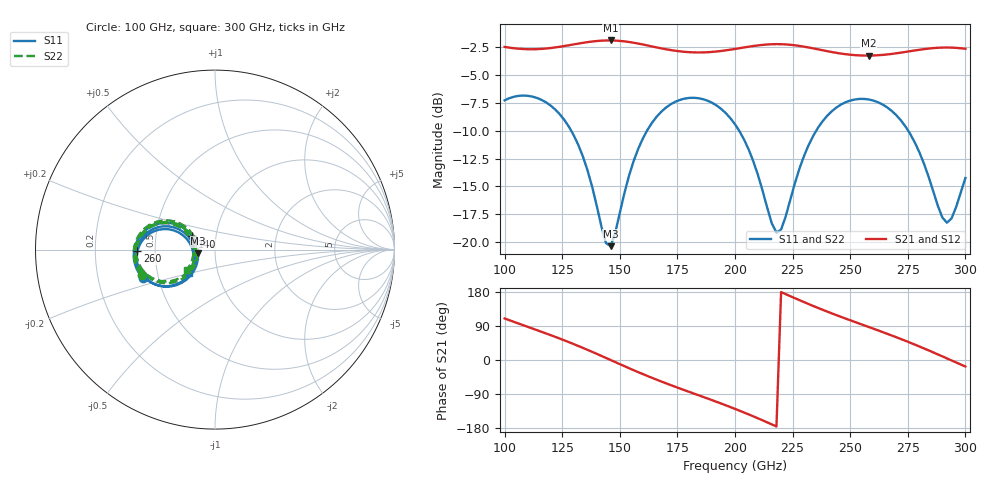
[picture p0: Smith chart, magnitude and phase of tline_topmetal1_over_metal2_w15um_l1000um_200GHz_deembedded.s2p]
! Created with skrf 2.0.1 (http://scikit-rf.org).
# GHz S DB R 50.0
!freq dBS11 angS11 dBS21 angS21 dBS12 angS12 dBS22 angS22
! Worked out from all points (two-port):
!   101 points, 100 GHz to 300 GHz, reference 50 ohm
!   highest |S21| = -1.91 dB at 146 GHz (marker M1); lowest = -3.3 dB at 258 GHz (marker M2)
!   |S21| within 3 dB of the highest: start of sweep to end of sweep
!   lowest |S11| = -20.4 dB at 146 GHz (marker M3), VSWR 1.21, Z = 41.4 - j1.77 ohm
!   |S11| at or under -10 dB: 128.9 GHz to 161.8 GHz (32.92 GHz wide, 22.7 % of centre); 201.8 GHz to 235.3 GHz (33.47 GHz wide, 15.3 % of centre); 275.2 GHz to end of sweep
!   |S22| runs from -20.3 to -6.9 dB; largest |S21 - S12| = 8.3e-14
!   S11 on the Smith chart (normalised r, x): 100 GHz: 0.41, -0.16; 140 GHz: 0.77, +0.12; 260 GHz: 0.40, -0.01; 300 GHz: 0.73, -0.20
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100  -7.28 -158.7  -2.48 109.6  -2.48 109.6  -7.29 -161.0
108  -6.85 -173.0  -2.67 92.0  -2.67 92.0  -6.86 -175.5
118  -7.46 169.5  -2.63 70.0  -2.63 70.0  -7.47 166.8
134  -12.32 146.2  -2.12 31.9  -2.12 31.9  -12.33 143.2
140  -16.74 149.8  -1.96 16.2  -1.96 16.2  -16.72 146.7
144  -20.08 172.9  -1.91 5.4  -1.91 5.4  -20.02 169.6
146  -20.35 -167.3  -1.91 -0.0  -1.91 -0.0  -20.29 -170.8
158  -11.62 -135.1  -2.19 -32.1  -2.19 -32.1  -11.63 -139.0
168  -8.30 -149.4  -2.61 -56.7  -2.61 -56.7  -8.31 -153.6
184  -7.08 -176.5  -2.98 -92.6  -2.98 -92.6  -7.10 179.0
200  -9.42 158.1  -2.67 -129.0  -2.67 -129.0  -9.45 153.2
210  -14.00 151.0  -2.35 -154.1  -2.35 -154.1  -14.05 145.6
218  -19.13 -176.6  -2.23 -175.4  -2.23 -175.4  -19.27 178.2
226  -14.71 -136.4  -2.34 163.1  -2.34 163.1  -14.76 -141.5
234  -10.44 -138.9  -2.62 142.4  -2.62 142.4  -10.47 -144.3
246  -7.66 -156.5  -3.08 113.9  -3.08 113.9  -7.68 -162.3
258  -7.20 -175.8  -3.26 87.2  -3.26 87.2  -7.22 178.0
260  -7.29 -179.0  -3.25 82.8  -3.25 82.8  -7.32 174.7
268  -8.22 168.6  -3.11 64.7  -3.11 64.7  -8.25 162.1
280  -11.92 155.0  -2.74 35.7  -2.74 35.7  -11.97 148.0
292  -18.25 -171.6  -2.54 4.2  -2.54 4.2  -18.42 -178.6
300  -14.24 -137.9  -2.65 -17.2  -2.65 -17.2  -14.32 -144.6
